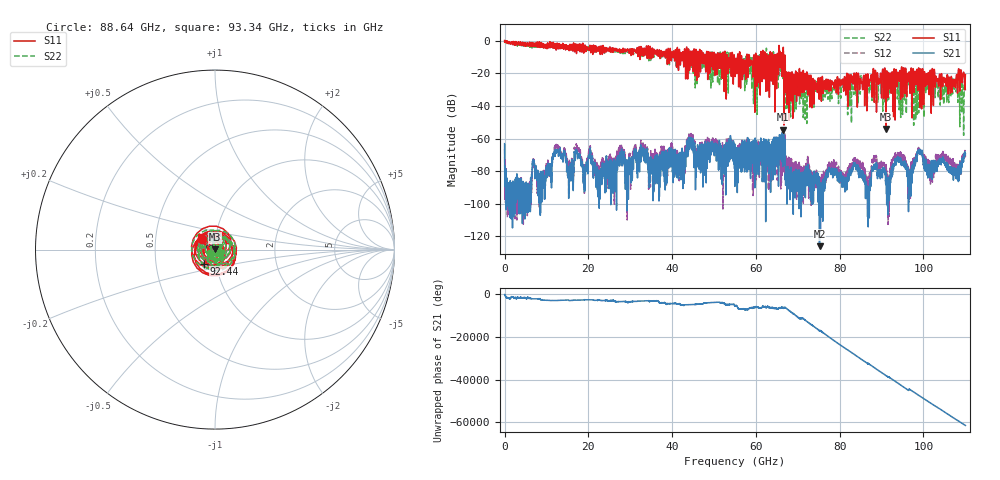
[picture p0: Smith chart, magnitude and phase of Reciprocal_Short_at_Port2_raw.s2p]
#  HZ  S  RI  R  50.00
! Rohde & Schwarz ZVA67 4Ports - Version 4.11 - 1305.7002k04 SN: 101032
! Date: 2026-02-18 15:48:00
! Measurements: S11 S21 S12 S22
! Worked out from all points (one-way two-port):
!   5500 points, 20 MHz to 110 GHz, reference 50 ohm
!   highest |S21| = -54.65 dB at 66.48 GHz (marker M1); lowest = -126.1 dB at 75.18 GHz (marker M2)
!   lowest |S11| = -54.1 dB at 91 GHz (marker M3), VSWR 1.00, Z = 50.2 + j0.0561 ohm
!   |S11| at or under -10 dB: 56.61 GHz to 57.76 GHz (1.144 GHz wide, 2 % of centre); 58.4 GHz to 59.44 GHz (1.042 GHz wide, 1.77 % of centre); 66.97 GHz to end of sweep (the widest 3 of 67)
!   |S22| runs from -58.0 to 0.2 dB; largest |S21 - S12| = 0.0023
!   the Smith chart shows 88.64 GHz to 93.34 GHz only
!   S11 on the Smith chart (normalised r, x): 88.64 GHz: 0.86, +0.11; 92.44 GHz: 0.87, -0.14; 93.34 GHz: 0.85, +0.12
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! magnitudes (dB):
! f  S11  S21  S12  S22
! 20 MHz  0.2  -63.2  -66.4  -0.8
! 780 MHz  -0.4  -91.3  -94.5  -0.9
! 10.68 GHz  -3.5  -78.6  -79.7  -3.1
! 12.44 GHz  -3.4  -67.9  -64.6  -3.8
! 18.36 GHz  -3.5  -72.9  -71.3  -5.1
! 29.32 GHz  -5.6  -80.3  -77.4  -6.8
! 32.94 GHz  -6.7  -67.5  -63.3  -8.1
! 36.68 GHz  -9.3  -73.4  -79.6  -7.8
! 42.46 GHz  -9.3  -75.4  -70.5  -9.4
! 44.44 GHz  -7.5  -60.5  -56.2  -10.3
! 55.02 GHz  -20.9  -77.1  -67.3  -21.5
! 66.48 GHz  -7.5  -54.7  -71.0  -20.7
! 67.56 GHz  -22.7  -81.0  -72.4  -25.7
! 73.34 GHz  -39.8  -86.8  -90.5  -32.5
! 75.18 GHz  -28.1  -126.1  -83.0  -26.4
! 88.64 GHz  -20.5  -75.9  -71.1  -35.8
! 91 GHz  -54.1  -81.2  -79.6  -18.6
! 91.68 GHz  -19.5  -90.5  -92.2  -34.2
! 92.44 GHz  -20.0  -78.7  -73.5  -27.7
! 93.34 GHz  -19.5  -72.8  -71.1  -28.5
! 108 GHz  -22.6  -81.9  -79.5  -22.3
! 110 GHz  -20.7  -69.4  -70.0  -30.4
